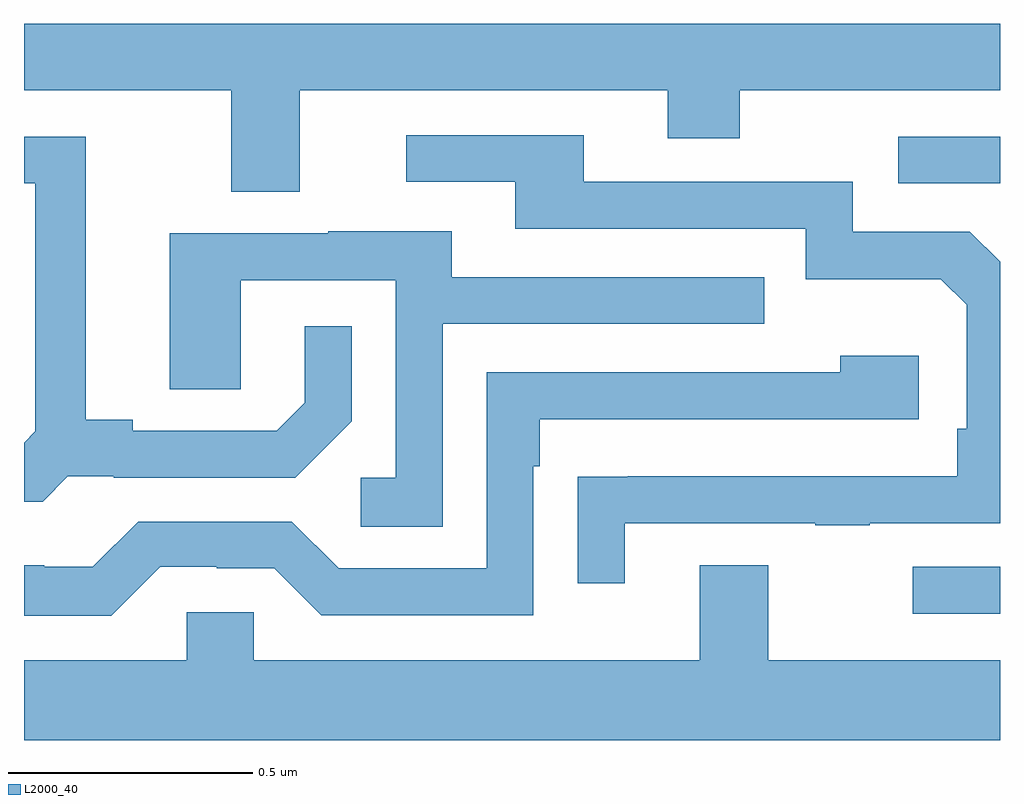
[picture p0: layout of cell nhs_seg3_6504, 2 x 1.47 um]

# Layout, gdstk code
import gdstk
lib = gdstk.Library(unit=1e-6, precision=1e-09)
def R(c, l, rs):  # rectangles x0, y0, x1, y1
    for r in rs: c.add(gdstk.rectangle(r[:2], r[2:], *l))
def P(c, l, *ps):  # polygons
    for p in ps: c.add(gdstk.Polygon(p, *l))
L2000_40 = (2000, 40)

nhs_seg3_6504 = lib.new_cell('nhs_seg3_6504')
R(nhs_seg3_6504, L2000_40, [(193.821,685.191,194,685.287), (193.791,686.073,194,686.169)])
P(nhs_seg3_6504, L2000_40, [(192.565,686.264),(193.319,686.264),(193.319,686.165),(193.467,686.165),(193.467,686.264),(194,686.264),(194,686.4),(192,686.4),(192,686.264),(192.425,686.264),(192.425,686.056),(192.565,686.056)],
  [(193.231,685.377),(193.621,685.377),(193.621,685.372),(193.733,685.372),(193.733,685.377),(194,685.377),(194,685.912),(193.938,685.974),(193.698,685.974),(193.698,686.076),(193.147,686.076),(193.147,686.172),(192.783,686.172),(192.783,686.076),(193.007,686.076),(193.007,685.98),(193.602,685.98),(193.602,685.877),(193.879,685.877),(193.932,685.824),(193.932,685.57),(193.912,685.57),(193.912,685.473),(193.237,685.473),(193.237,685.472),(193.135,685.472),(193.135,685.254),(193.231,685.254)],
  [(192.09,685.473),(192.184,685.473),(192.184,685.47),(192.556,685.47),(192.672,685.586),(192.672,685.78),(192.575,685.78),(192.575,685.623),(192.518,685.566),(192.223,685.566),(192.223,685.589),(192.127,685.589),(192.127,686.169),(192,686.169),(192,686.073),(192.023,686.073),(192.023,685.565),(192,685.542),(192,685.421),(192.038,685.421)],
  [(192.858,685.785),(193.517,685.785),(193.517,685.881),(192.877,685.881),(192.877,685.975),(192.623,685.975),(192.623,685.971),(192.299,685.971),(192.299,685.651),(192.444,685.651),(192.444,685.875),(192.762,685.875),(192.762,685.47),(192.69,685.47),(192.69,685.369),(192.858,685.369)],
  [(192.279,685.287),(192.395,685.287),(192.395,685.284),(192.513,685.284),(192.609,685.188),(193.044,685.188),(193.044,685.493),(193.057,685.493),(193.057,685.59),(193.834,685.59),(193.834,685.72),(193.673,685.72),(193.673,685.686),(192.948,685.686),(192.948,685.284),(192.645,685.284),(192.549,685.38),(192.234,685.38),(192.141,685.287),(192.041,685.287),(192.041,685.291),(192,685.291),(192,685.187),(192.179,685.187)],
  [(194,685.096),(193.525,685.096),(193.525,685.291),(193.385,685.291),(193.385,685.096),(192.471,685.096),(192.471,685.194),(192.333,685.194),(192.333,685.096),(192,685.096),(192,684.932),(194,684.932)])

lib.write_gds('nhs_seg3_6504.gds')
